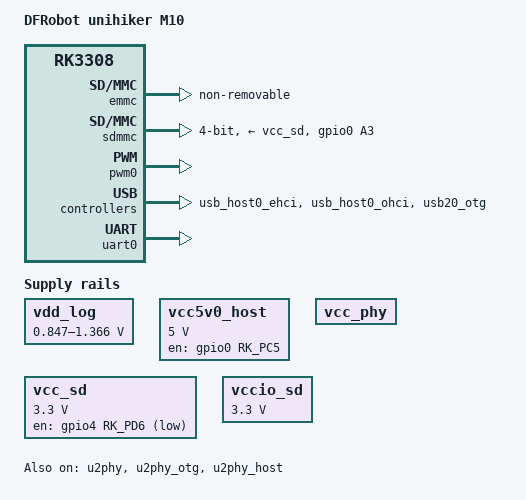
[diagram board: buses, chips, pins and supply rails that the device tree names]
/*
 * (C) Copyright 2018 Rockchip Electronics Co., Ltd
 *
 * SPDX-License-Identifier:     GPL-2.0+
 */

/dts-v1/;
#include "rk3308.dtsi"
#include "rk3308-u-boot.dtsi"
#include <dt-bindings/input/input.h>
#include <linux/media-bus-format.h>

/ {
	model = "DFRobot unihiker M10";
	compatible = "dfrobot,unihiker", "rockchip,rk3308";

	/* rk3308-u-boot.dtsi 默认 stdout-path=&uart2，Unihiker 调试口为 uart0 */
	chosen {
		stdout-path = &uart0;
	};

	vdd_log: vdd_core: vdd-core {
		compatible = "pwm-regulator";
		pwms = <&pwm0 0 5000 1>;
		regulator-name = "vdd_core";
		regulator-min-microvolt = <847000>;
		regulator-max-microvolt = <1366000>;
		regulator-init-microvolt  = <1044000>;
		regulator-always-on;
		regulator-boot-on;
		status = "okay";
	};

	vcc5v0_host: vcc5v0-host-en {
		compatible = "regulator-fixed";
		regulator-name = "vcc5v0_host";
		enable-active-high;
		gpio = <&gpio0 RK_PC5 GPIO_ACTIVE_HIGH>;
		pinctrl-names = "default";
		pinctrl-0 = <&vcc5v0_host_drv>;
		regulator-min-microvolt = <5000000>;
		regulator-max-microvolt = <5000000>;
		regulator-always-on;
		regulator-boot-on;
	};

	vcc_phy: vcc-phy-regulator {
		compatible = "regulator-fixed";
		regulator-name = "vcc_phy";
		regulator-always-on;
		regulator-boot-on;
	};

	/* TF 3.3V 供电（与内核 vcc_sd 一致，GPIO4_PD6 低有效） */
	vcc_sd: vcc-sd {
		compatible = "regulator-fixed";
		gpio = <&gpio4 RK_PD6 GPIO_ACTIVE_LOW>;
		enable-active-low;
		regulator-name = "vcc_sd";
		regulator-min-microvolt = <3300000>;
		regulator-max-microvolt = <3300000>;
		regulator-boot-on;
		regulator-always-on;
	};

	/* TF 信号电平：U-Boot 无 regulator-gpio，固定 3.3V 避免 -95 voltage select */
	vccio_sd: vccio-sd {
		compatible = "regulator-fixed";
		regulator-name = "vccio_sd";
		regulator-min-microvolt = <3300000>;
		regulator-max-microvolt = <3300000>;
		regulator-boot-on;
		regulator-always-on;
	};
};

&emmc {
	cap-mmc-highspeed;
	supports-emmc;
	non-removable;
	num-slots = <1>;
	status = "okay";
};

&sdmmc_pin {
	/* 与内核 rk3308bs-pinctrl.dtsi 一致 */
	sdmmc_det: sdmmc-det {
		rockchip,pins = <0 RK_PA3 1 &pcfg_pull_up_4ma>;
	};
};

&sdmmc {
	bus-width = <4>;
	cap-sd-highspeed;
	supports-sd;
	disable-wp;
	card-detect-delay = <800>;
	vmmc-supply = <&vcc_sd>;
	vqmmc-supply = <&vccio_sd>;
	pinctrl-names = "default";
	pinctrl-0 = <&sdmmc_clk &sdmmc_cmd &sdmmc_det &sdmmc_bus4>;
	status = "okay";
};

&pwm0 {
	status = "okay";
};

&u2phy {
	status = "okay";
};

&u2phy_otg {
	status = "okay";
};

&u2phy_host {
	status = "okay";
};

&usb_host0_ehci {
	status = "okay";
};

&usb_host0_ohci {
	status = "okay";
};

&usb20_otg {
	status = "okay";
};

&mac {
	phy-supply = <&vcc_phy>;
	clock_in_out = "output";
	assigned-clocks = <&cru SCLK_MAC>;
	assigned-clock-parents = <&cru SCLK_MAC_SRC>;
	snps,reset-gpio = <&gpio0 RK_PA7 GPIO_ACTIVE_LOW>;
	snps,reset-active-low;
	snps,reset-delays-us = <0 50000 50000>;
	status = "disabled";
};

&pinctrl {
	usb {
		vcc5v0_host_drv: vcc5v0-host-drv {
			rockchip,pins = <0 RK_PC5 RK_FUNC_GPIO &pcfg_pull_none>;
		};
	};
};

&uart0 {
	clock-frequency = <24000000>;
	pinctrl-0 = <&uart0_xfer>;
	status = "okay";
};

&uart2 {
	status = "disabled";
};
